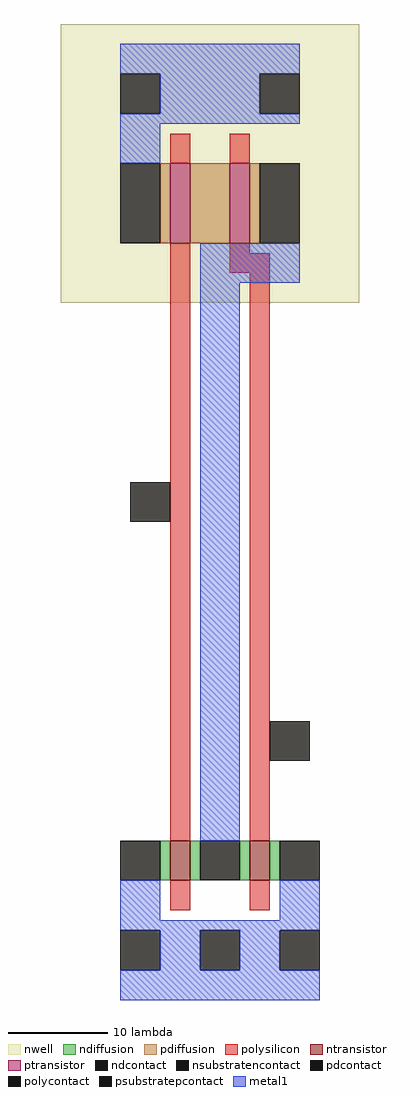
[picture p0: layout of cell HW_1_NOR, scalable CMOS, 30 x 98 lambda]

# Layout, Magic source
magic
tech scmos
<< nwell >>
rect -16 19 14 47
<< ntransistor >>
rect -5 -39 -3 -35
rect 3 -39 5 -35
<< ptransistor >>
rect -5 25 -3 33
rect 1 25 3 33
<< ndiffusion >>
rect -6 -39 -5 -35
rect -3 -39 -2 -35
rect 2 -39 3 -35
rect 5 -39 6 -35
<< pdiffusion >>
rect -6 25 -5 33
rect -3 25 1 33
rect 3 25 4 33
<< ndcontact >>
rect -10 -39 -6 -35
rect -2 -39 2 -35
rect 6 -39 10 -35
<< pdcontact >>
rect -10 25 -6 33
rect 4 25 8 33
<< psubstratepcontact >>
rect -10 -48 -6 -44
rect -2 -48 2 -44
rect 6 -48 10 -44
<< nsubstratencontact >>
rect -10 38 -6 42
rect 4 38 8 42
<< polysilicon >>
rect -5 33 -3 36
rect 1 33 3 36
rect -5 -35 -3 25
rect 1 24 3 25
rect 1 22 5 24
rect 3 -35 5 22
rect -5 -42 -3 -39
rect 3 -42 5 -39
<< polycontact >>
rect -9 -3 -5 1
rect 5 -27 9 -23
<< metal1 >>
rect -10 42 8 45
rect -6 38 4 42
rect -10 37 8 38
rect -10 33 -6 37
rect -2 21 8 25
rect -2 -35 2 21
rect -10 -43 -6 -39
rect 6 -43 10 -39
rect -10 -44 10 -43
rect -6 -48 -2 -44
rect 2 -48 6 -44
rect -10 -51 10 -48
<< end >>
